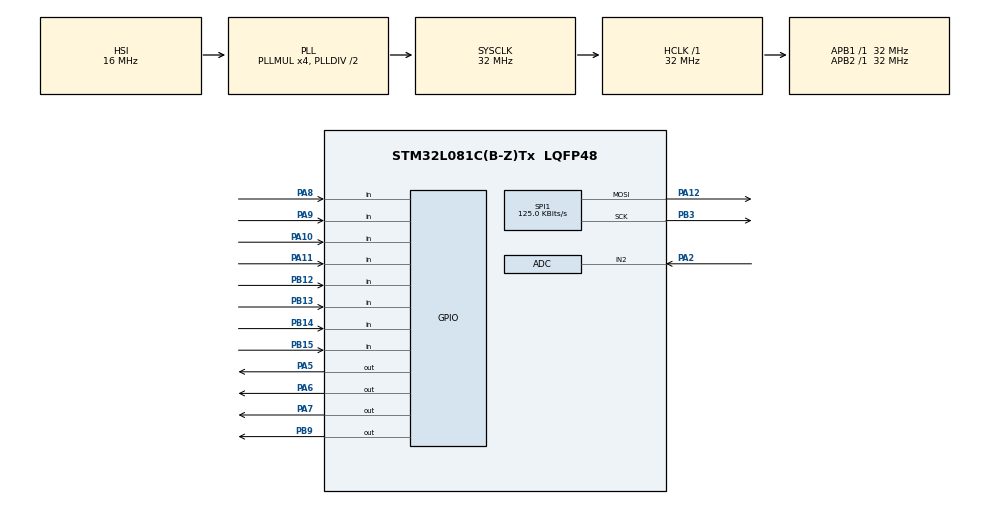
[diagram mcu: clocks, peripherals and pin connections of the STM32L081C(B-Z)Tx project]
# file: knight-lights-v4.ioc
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Dma.Request0=SPI1_TX
Dma.SPI1_TX.0.Direction=DMA_MEMORY_TO_PERIPH
Dma.SPI1_TX.0.Instance=DMA1_Channel3
Dma.SPI1_TX.0.MemDataAlignment=DMA_MDATAALIGN_BYTE
Dma.SPI1_TX.0.MemInc=DMA_MINC_ENABLE
Dma.SPI1_TX.0.Mode=DMA_CIRCULAR
Dma.SPI1_TX.0.PeriphDataAlignment=DMA_PDATAALIGN_BYTE
Dma.SPI1_TX.0.PeriphInc=DMA_PINC_DISABLE
Dma.SPI1_TX.0.Priority=DMA_PRIORITY_VERY_HIGH
Mcu.Family=STM32L0
Mcu.Name=STM32L081C(B-Z)Tx
Mcu.Package=LQFP48
NVIC.DMA1_Channel2_3_IRQn=true\:0\:0\:false\:false\:true\:false\:true
PA0.Signal=USART4_TX
PA1.Signal=USART4_RX
PA10.Signal=GPIO_Input
PA11.Signal=GPIO_Input
PA12.Mode=TX_Only_Simplex_Unidirect_Master
PA12.Signal=SPI1_MOSI
PA13.Mode=Serial_Wire
PA13.Signal=SYS_SWDIO
PA14.Mode=Serial_Wire
PA14.Signal=SYS_SWCLK
PA2.Signal=SharedAnalog_PA2
PA5.Signal=GPIO_Output
PA6.Signal=GPIO_Output
PA7.Signal=GPIO_Output
PA8.Signal=GPIO_Input
PA9.Signal=GPIO_Input
PB12.Signal=GPIO_Input
PB13.Signal=GPIO_Input
PB14.Signal=GPIO_Input
PB15.Signal=GPIO_Input
PB3.Mode=TX_Only_Simplex_Unidirect_Master
PB3.Signal=SPI1_SCK
PB9.Signal=GPIO_Output
ProjectManager.HeapSize=0x200
ProjectManager.StackSize=0x400
ProjectManager.TargetToolchain=STM32CubeIDE
RCC.ADCFreq_Value=16000000
RCC.AHBFreq_Value=32000000
RCC.APB1Freq_Value=32000000
RCC.APB1TimFreq_Value=32000000
RCC.APB2Freq_Value=32000000
RCC.APB2TimFreq_Value=32000000
RCC.HCLKFreq_Value=32000000
RCC.HSE_VALUE=8000000
RCC.HSI16_VALUE=16000000
RCC.HSI_VALUE=16000000
RCC.LSE_VALUE=32768
RCC.MSI_VALUE=2097000
RCC.PLLMUL=RCC_PLLMUL_4
RCC.SYSCLKFreq_VALUE=32000000
RCC.SYSCLKSource=RCC_SYSCLKSOURCE_PLLCLK
RCC.VCOOutputFreq_Value=64000000
SH.SharedAnalog_PA2.0=GPIO_Analog
SH.SharedAnalog_PA2.1=ADC_IN2,IN2
SPI1.BaudRatePrescaler=SPI_BAUDRATEPRESCALER_256
SPI1.CalculateBaudRate=125.0 KBits/s
SPI1.Direction=SPI_DIRECTION_2LINES
SPI1.Mode=SPI_MODE_MASTER
SPI1.VirtualType=VM_MASTER
board=custom

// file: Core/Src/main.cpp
/* USER CODE BEGIN Header */
/**
  ******************************************************************************
  * @file           : main.c
  * @brief          : Main program body
  ******************************************************************************
  * @attention
  *
  * Copyright (c) 2022 STMicroelectronics.
  * All rights reserved.
  *
  * This software is licensed under terms that can be found in the LICENSE file
  * in the root directory of this software component.
  * If no LICENSE file comes with this software, it is provided AS-IS.
  *
  ******************************************************************************
  */
/* USER CODE END Header */
#include "main.h"

/* USER CODE BEGIN Includes */
#include "pixelArray.h"
#include "switchArray.h"
#include "chessgpio.h"
#include <stdlib.h>
/* USER CODE END Includes */

/* USER CODE BEGIN PD */
#define lights 64
/* USER CODE END PD */

ADC_HandleTypeDef hadc;

SPI_HandleTypeDef hspi1;
DMA_HandleTypeDef hdma_spi1_tx;

void SystemClock_Config(void);
static void MX_GPIO_Init(void);
static void MX_ADC_Init(void);
static void MX_DMA_Init(void);
static void MX_SPI1_Init(void);

/* USER CODE BEGIN 0 */

void HAL_SPI_TxHalfCpltCallback(SPI_HandleTypeDef *hspi) {
	return;
}

// Get the status of the entire board's switches
void readSwitches(switchArray* array) {

	int active = 0;

	// Loop through each column
	for (int column = 0; column < 8; ++column) {

		// Select the column and read it into the active vector
		setColumn(column);
		active = readColumn();

		for (int row = 0; row < 8; ++row) {

			// Loop through each row in the column vector. Set/Reset the corresponding bits in the switchArray structure
			if(active & (1 << row)) {
				array->set(column, row);
			} else {
				array->reset(column, row);
			}
		}

	}

}

/* USER CODE END 0 */

int main(void)
{

  /* MCU Configuration--------------------------------------------------------*/

  /* Reset of all peripherals, Initializes the Flash interface and the Systick. */
  HAL_Init();

  /* Configure the system clock */
  SystemClock_Config();

  /* Initialize all configured peripherals */
  MX_GPIO_Init();
  MX_ADC_Init();
  MX_DMA_Init();
  MX_SPI1_Init();

  // Initialize a color to the array and write a dim red value into the entire array
  pixelArray* pixArray = new pixelArray;
  pixArray->initialize(lights);
  pixArray->setStrip(0x010000);

  // Initialize the switch array to hold information on the board's state
  // Binary on or off for whether a hall sensor is driving or off
  switchArray* swArray = new switchArray;
  swArray->initialize();

  // This actually begins the circular transfer of the neopixel bitstream, and only need be called once.
	HAL_SPI_Transmit_DMA(&hspi1, pixArray->buffer, pixArray->buffer_length);

	while (1)
	{

		// Read in the switches
		readSwitches(swArray);

		// Set neopixels based on the status of the switches
		pixArray->passThrough(swArray);

		// Toggle the heartbeat LED
		HAL_GPIO_TogglePin(GPIOB, GPIO_PIN_9);

		HAL_Delay(10);

	}
}

void SystemClock_Config(void)
{
  RCC_OscInitTypeDef RCC_OscInitStruct = {0};
  RCC_ClkInitTypeDef RCC_ClkInitStruct = {0};

  /** Configure the main internal regulator output voltage
  */
  __HAL_PWR_VOLTAGESCALING_CONFIG(PWR_REGULATOR_VOLTAGE_SCALE1);
  /** Initializes the RCC Oscillators according to the specified parameters
  * in the RCC_OscInitTypeDef structure.
  */
  RCC_OscInitStruct.OscillatorType = RCC_OSCILLATORTYPE_HSI;
  RCC_OscInitStruct.HSIState = RCC_HSI_ON;
  RCC_OscInitStruct.HSICalibrationValue = RCC_HSICALIBRATION_DEFAULT;
  RCC_OscInitStruct.PLL.PLLState = RCC_PLL_ON;
  RCC_OscInitStruct.PLL.PLLSource = RCC_PLLSOURCE_HSI;
  RCC_OscInitStruct.PLL.PLLMUL = RCC_PLLMUL_4;
  RCC_OscInitStruct.PLL.PLLDIV = RCC_PLLDIV_2;
  if (HAL_RCC_OscConfig(&RCC_OscInitStruct) != HAL_OK)
  {
    Error_Handler();
  }
  /** Initializes the CPU, AHB and APB buses clocks
  */
  RCC_ClkInitStruct.ClockType = RCC_CLOCKTYPE_HCLK|RCC_CLOCKTYPE_SYSCLK
                              |RCC_CLOCKTYPE_PCLK1|RCC_CLOCKTYPE_PCLK2;
  RCC_ClkInitStruct.SYSCLKSource = RCC_SYSCLKSOURCE_PLLCLK;
  RCC_ClkInitStruct.AHBCLKDivider = RCC_SYSCLK_DIV1;
  RCC_ClkInitStruct.APB1CLKDivider = RCC_HCLK_DIV1;
  RCC_ClkInitStruct.APB2CLKDivider = RCC_HCLK_DIV1;

  if (HAL_RCC_ClockConfig(&RCC_ClkInitStruct, FLASH_LATENCY_1) != HAL_OK)
  {
    Error_Handler();
  }
}

static void MX_ADC_Init(void)
{

  ADC_ChannelConfTypeDef sConfig = {0};

  /** Configure the global features of the ADC (Clock, Resolution, Data Alignment and number of conversion)
  */
  hadc.Instance = ADC1;
  hadc.Init.OversamplingMode = DISABLE;
  hadc.Init.ClockPrescaler = ADC_CLOCK_SYNC_PCLK_DIV2;
  hadc.Init.Resolution = ADC_RESOLUTION_12B;
  hadc.Init.SamplingTime = ADC_SAMPLETIME_1CYCLE_5;
  hadc.Init.ScanConvMode = ADC_SCAN_DIRECTION_FORWARD;
  hadc.Init.DataAlign = ADC_DATAALIGN_RIGHT;
  hadc.Init.ContinuousConvMode = DISABLE;
  hadc.Init.DiscontinuousConvMode = DISABLE;
  hadc.Init.ExternalTrigConvEdge = ADC_EXTERNALTRIGCONVEDGE_NONE;
  hadc.Init.ExternalTrigConv = ADC_SOFTWARE_START;
  hadc.Init.DMAContinuousRequests = DISABLE;
  hadc.Init.EOCSelection = ADC_EOC_SINGLE_CONV;
  hadc.Init.Overrun = ADC_OVR_DATA_PRESERVED;
  hadc.Init.LowPowerAutoWait = DISABLE;
  hadc.Init.LowPowerFrequencyMode = DISABLE;
  hadc.Init.LowPowerAutoPowerOff = DISABLE;
  if (HAL_ADC_Init(&hadc) != HAL_OK)
  {
    Error_Handler();
  }
  /** Configure for the selected ADC regular channel to be converted.
  */
  sConfig.Channel = ADC_CHANNEL_2;
  sConfig.Rank = ADC_RANK_CHANNEL_NUMBER;
  if (HAL_ADC_ConfigChannel(&hadc, &sConfig) != HAL_OK)
  {
    Error_Handler();
  }

}

static void MX_SPI1_Init(void)
{

  /* SPI1 parameter configuration*/
  hspi1.Instance = SPI1;
  hspi1.Init.Mode = SPI_MODE_MASTER;
  hspi1.Init.Direction = SPI_DIRECTION_2LINES;
  hspi1.Init.DataSize = SPI_DATASIZE_8BIT;
  hspi1.Init.CLKPolarity = SPI_POLARITY_LOW;
  hspi1.Init.CLKPhase = SPI_PHASE_1EDGE;
  hspi1.Init.NSS = SPI_NSS_SOFT;
  hspi1.Init.BaudRatePrescaler = SPI_BAUDRATEPRESCALER_8;
  hspi1.Init.FirstBit = SPI_FIRSTBIT_MSB;
  hspi1.Init.TIMode = SPI_TIMODE_DISABLE;
  hspi1.Init.CRCCalculation = SPI_CRCCALCULATION_DISABLE;
  hspi1.Init.CRCPolynomial = 7;
  if (HAL_SPI_Init(&hspi1) != HAL_OK)
  {
    Error_Handler();
  }

}

static void MX_DMA_Init(void)
{

  /* DMA controller clock enable */
  __HAL_RCC_DMA1_CLK_ENABLE();

  /* DMA interrupt init */
  /* DMA1_Channel2_3_IRQn interrupt configuration */
  HAL_NVIC_SetPriority(DMA1_Channel2_3_IRQn, 0, 0);
  HAL_NVIC_EnableIRQ(DMA1_Channel2_3_IRQn);

}

static void MX_GPIO_Init(void)
{
  GPIO_InitTypeDef GPIO_InitStruct = {0};

  /* GPIO Ports Clock Enable */
  __HAL_RCC_GPIOA_CLK_ENABLE();
  __HAL_RCC_GPIOB_CLK_ENABLE();

  /*Configure GPIO pin Output Level */
  HAL_GPIO_WritePin(GPIOA, GPIO_PIN_5|GPIO_PIN_6|GPIO_PIN_7, GPIO_PIN_RESET);

  /*Configure GPIO pin Output Level */
  HAL_GPIO_WritePin(GPIOB, GPIO_PIN_9, GPIO_PIN_RESET);

  /*Configure GPIO pins : PA0 PA1 */
  GPIO_InitStruct.Pin = GPIO_PIN_0|GPIO_PIN_1;
  GPIO_InitStruct.Mode = GPIO_MODE_AF_PP;
  GPIO_InitStruct.Pull = GPIO_NOPULL;
  GPIO_InitStruct.Speed = GPIO_SPEED_FREQ_VERY_HIGH;
  GPIO_InitStruct.Alternate = GPIO_AF6_USART4;
  HAL_GPIO_Init(GPIOA, &GPIO_InitStruct);

  /*Configure GPIO pins : PA5 PA6 PA7 */
  GPIO_InitStruct.Pin = GPIO_PIN_5|GPIO_PIN_6|GPIO_PIN_7;
  GPIO_InitStruct.Mode = GPIO_MODE_OUTPUT_PP;
  GPIO_InitStruct.Pull = GPIO_NOPULL;
  GPIO_InitStruct.Speed = GPIO_SPEED_FREQ_LOW;
  HAL_GPIO_Init(GPIOA, &GPIO_InitStruct);

  /*Configure GPIO pins : PB12 PB13 PB14 PB15 */
  GPIO_InitStruct.Pin = GPIO_PIN_12|GPIO_PIN_13|GPIO_PIN_14|GPIO_PIN_15;
  GPIO_InitStruct.Mode = GPIO_MODE_INPUT;
  GPIO_InitStruct.Pull = GPIO_NOPULL;
  HAL_GPIO_Init(GPIOB, &GPIO_InitStruct);

  /*Configure GPIO pins : PA8 PA9 PA10 PA11 */
  GPIO_InitStruct.Pin = GPIO_PIN_8|GPIO_PIN_9|GPIO_PIN_10|GPIO_PIN_11;
  GPIO_InitStruct.Mode = GPIO_MODE_INPUT;
  GPIO_InitStruct.Pull = GPIO_NOPULL;
  HAL_GPIO_Init(GPIOA, &GPIO_InitStruct);

  /*Configure GPIO pin : PB9 */
  GPIO_InitStruct.Pin = GPIO_PIN_9;
  GPIO_InitStruct.Mode = GPIO_MODE_OUTPUT_PP;
  GPIO_InitStruct.Pull = GPIO_NOPULL;
  GPIO_InitStruct.Speed = GPIO_SPEED_FREQ_LOW;
  HAL_GPIO_Init(GPIOB, &GPIO_InitStruct);

}

void Error_Handler(void)
{
  __disable_irq();
  while (1)
  {
  }
}
